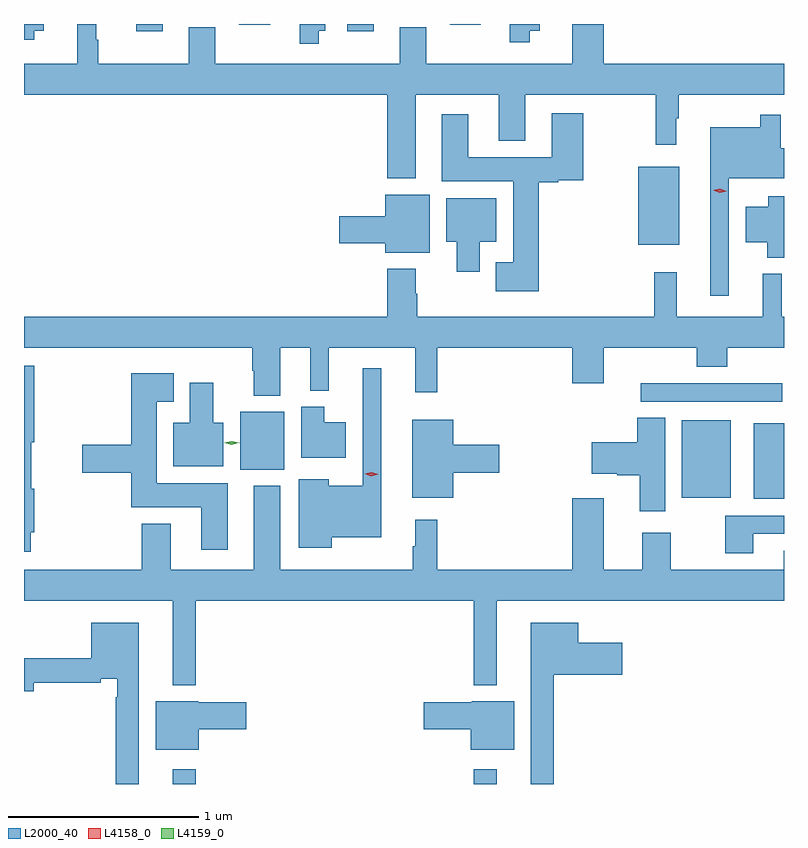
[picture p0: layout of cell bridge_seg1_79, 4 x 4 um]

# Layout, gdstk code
import gdstk
lib = gdstk.Library(unit=1e-6, precision=1e-09)
def R(c, l, rs):  # rectangles x0, y0, x1, y1
    for r in rs: c.add(gdstk.rectangle(r[:2], r[2:], *l))
def P(c, l, *ps):  # polygons
    for p in ps: c.add(gdstk.Polygon(p, *l))
L2000_40 = (2000, 40)
L4158_0 = (4158, 0)
L4159_0 = (4159, 0)

bridge_seg1_79 = lib.new_cell('bridge_seg1_79')
R(bridge_seg1_79, L2000_40, [(546.521,518.8,546.643,518.878), (548.106,518.8,548.227,518.878), (549.578,520.301,549.738,520.699), (549.2,520.307,549.457,520.714), (546.875,520.454,547.108,520.759), (548.985,520.812,549.73,520.908), (548.972,521.639,549.187,522.049), (546.329,522.762,546.469,522.8), (547.439,522.762,547.579,522.8)])
P(bridge_seg1_79, L2000_40, [(547.288,522.764),(547.324,522.764),(547.324,522.8),(547.19,522.8),(547.19,522.696),(547.288,522.696)],
  [(548.143,522.8),(547.978,522.8),(547.981,522.797),(548.143,522.797)],
  [(547.033,522.8),(546.868,522.8),(546.871,522.797),(547.033,522.797)],
  [(548.4,522.764),(548.452,522.764),(548.452,522.8),(548.294,522.8),(548.294,522.704),(548.4,522.704)],
  [(545.791,522.764),(545.841,522.764),(545.841,522.8),(545.738,522.8),(545.738,522.716),(545.791,522.716)],
  [(547.801,522.428),(548.237,522.428),(548.237,522.185),(548.377,522.185),(548.377,522.428),(549.063,522.428),(549.063,522.165),(549.172,522.165),(549.172,522.305),(549.184,522.305),(549.184,522.428),(549.738,522.428),(549.738,522.592),(548.788,522.592),(548.788,522.8),(548.624,522.8),(548.624,522.592),(547.854,522.592),(547.854,522.782),(547.715,522.782),(547.715,522.592),(546.744,522.592),(546.744,522.782),(546.605,522.782),(546.605,522.592),(546.13,522.592),(546.13,522.716),(546.119,522.716),(546.119,522.8),(546.019,522.8),(546.019,522.592),(545.738,522.592),(545.738,522.428),(547.649,522.428),(547.649,521.987),(547.801,521.987)],
  [(548.447,521.966),(548.55,521.966),(548.55,521.978),(548.682,521.978),(548.682,522.331),(548.516,522.331),(548.516,522.1),(548.077,522.1),(548.077,522.325),(547.937,522.325),(547.937,521.972),(548.312,521.972),(548.312,521.545),(548.222,521.545),(548.222,521.393),(548.447,521.393)],
  [(549.447,521.987),(549.738,521.987),(549.738,522.145),(549.721,522.145),(549.721,522.322),(549.612,522.322),(549.612,522.256),(549.35,522.256),(549.35,521.37),(549.447,521.37)],
  [(547.873,521.902),(547.64,521.902),(547.64,521.789),(547.398,521.789),(547.398,521.647),(547.64,521.647),(547.64,521.597),(547.873,521.597)],
  [(549.738,521.893),(549.656,521.893),(549.656,521.839),(549.536,521.839),(549.536,521.651),(549.65,521.651),(549.65,521.57),(549.738,521.57)],
  [(548.137,521.654),(548.224,521.654),(548.224,521.884),(547.961,521.884),(547.961,521.654),(548.015,521.654),(548.015,521.496),(548.137,521.496)],
  [(547.087,521.096),(547.244,521.096),(547.244,520.871),(547.343,520.871),(547.343,521.096),(547.796,521.096),(547.796,520.863),(547.913,520.863),(547.913,521.096),(548.624,521.096),(548.624,520.908),(548.788,520.908),(548.788,521.096),(549.28,521.096),(549.28,520.997),(549.44,520.997),(549.44,521.096),(549.738,521.096),(549.738,521.26),(549.725,521.26),(549.725,521.485),(549.626,521.485),(549.626,521.26),(549.173,521.26),(549.173,521.494),(549.055,521.494),(549.055,521.26),(547.809,521.26),(547.809,521.381),(547.801,521.381),(547.801,521.512),(547.649,521.512),(547.649,521.26),(545.738,521.26),(545.738,521.096),(546.94,521.096),(546.94,520.976),(546.947,520.976),(546.947,520.844),(547.087,520.844)],
  [(545.773,520.126),(545.792,520.126),(545.792,520.354),(545.777,520.354),(545.777,520.598),(545.792,520.598),(545.792,521.001),(545.738,521.001),(545.738,520.022),(545.773,520.022)],
  [(547.359,520.1),(547.618,520.1),(547.618,520.987),(547.521,520.987),(547.521,520.369),(547.342,520.369),(547.342,520.405),(547.184,520.405),(547.184,520.043),(547.359,520.043)],
  [(546.811,520.384),(546.436,520.384),(546.436,520.811),(546.526,520.811),(546.526,520.963),(546.302,520.963),(546.302,520.586),(546.045,520.586),(546.045,520.439),(546.302,520.439),(546.302,520.256),(546.671,520.256),(546.671,520.032),(546.811,520.032)],
  [(546.787,520.702),(546.733,520.702),(546.733,520.912),(546.611,520.912),(546.611,520.702),(546.524,520.702),(546.524,520.472),(546.787,520.472)],
  [(547.432,520.705),(547.318,520.705),(547.318,520.786),(547.196,520.786),(547.196,520.517),(547.432,520.517)],
  [(549.112,520.727),(548.966,520.727),(548.966,520.599),(548.727,520.599),(548.727,520.433),(548.861,520.433),(548.861,520.426),(548.978,520.426),(548.978,520.236),(549.112,520.236)],
  [(547.996,520.439),(548.239,520.439),(548.239,520.586),(547.996,520.586),(547.996,520.717),(547.781,520.717),(547.781,520.307),(547.996,520.307)],
  [(548.106,519.32),(548.227,519.32),(548.227,519.764),(549.738,519.764),(549.738,520.027),(549.737,520.027),(549.737,519.928),(549.141,519.928),(549.141,520.123),(548.993,520.123),(548.993,519.928),(548.788,519.928),(548.788,520.303),(548.624,520.303),(548.624,519.928),(547.913,519.928),(547.913,520.192),(547.796,520.192),(547.796,520.052),(547.785,520.052),(547.785,519.928),(547.087,519.928),(547.087,520.369),(546.947,520.369),(546.947,519.928),(546.511,519.928),(546.511,520.171),(546.359,520.171),(546.359,519.928),(545.738,519.928),(545.738,519.764),(546.521,519.764),(546.521,519.32),(546.643,519.32),(546.643,519.764),(548.106,519.764)],
  [(549.577,520.116),(549.738,520.116),(549.738,520.212),(549.43,520.212),(549.43,520.014),(549.577,520.014)],
  [(546.343,519.649),(546.092,519.649),(546.092,519.463),(545.738,519.463),(545.738,519.287),(545.788,519.287),(545.788,519.334),(546.143,519.334),(546.143,519.354),(546.229,519.354),(546.229,519.257),(546.222,519.257),(546.222,518.8),(546.343,518.8)],
  [(548.527,519.374),(548.887,519.374),(548.887,519.544),(548.656,519.544),(548.656,519.649),(548.405,519.649),(548.405,518.8),(548.527,518.8)],
  [(548.317,519.235),(548.094,519.235),(548.094,519.23),(547.842,519.23),(547.842,519.088),(548.09,519.088),(548.09,518.981),(548.317,518.981)],
  [(546.658,519.088),(546.907,519.088),(546.907,519.23),(546.654,519.23),(546.654,519.235),(546.431,519.235),(546.431,518.981),(546.658,518.981)])
P(bridge_seg1_79, L4158_0, [(547.566,520.421),(547.532,520.433),(547.531,520.433),(547.532,520.433),(547.567,520.441),(547.602,520.43),(547.603,520.429),(547.602,520.429)],
  [(549.401,521.913),(549.366,521.924),(549.365,521.924),(549.366,521.924),(549.401,521.932),(549.436,521.921),(549.437,521.921),(549.436,521.921)])
P(bridge_seg1_79, L4159_0, [(546.831,520.585),(546.792,520.595),(546.792,520.595),(546.792,520.595),(546.831,520.605),(546.869,520.595),(546.87,520.595),(546.869,520.595)])

lib.write_gds('bridge_seg1_79.gds')
